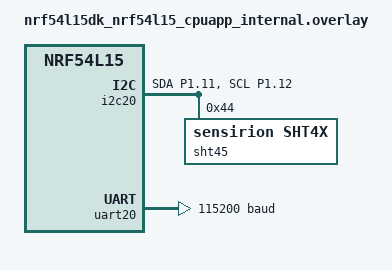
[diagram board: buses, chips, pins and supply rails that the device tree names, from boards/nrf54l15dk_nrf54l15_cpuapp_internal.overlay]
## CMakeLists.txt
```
cmake_minimum_required(VERSION 3.20.0)

find_package(Zephyr HINTS $ENV{ZEPHYR_BASE})

project(nrf54_humid)

# Enable GNU STD support for Matter to use
include(${ZEPHYR_CONNECTEDHOMEIP_MODULE_DIR}/config/nrfconnect/app/enable-gnu-std.cmake)

# Matter data model generation
include(${ZEPHYR_CONNECTEDHOMEIP_MODULE_DIR}/src/app/chip_data_model.cmake)

target_include_directories(app PRIVATE
    src
    src/zap-generated
)

target_sources(app PRIVATE
    src/main.cpp
    src/app_task.cpp
    src/identify_stub.cpp
    src/sht4x.cpp
)

target_include_directories(matter-data-model PUBLIC
    src
)

chip_configure_data_model(app
    BYPASS_IDL
    GEN_DIR src/zap-generated
    ZAP_FILE ${CMAKE_CURRENT_SOURCE_DIR}/src/sensor.zap
)
```

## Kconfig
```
config APP_TEMPERATURE_MONITORING
	bool "Enable internal temperature monitoring"
	default y
	select SENSOR
	help
	  Enable internal die temperature sensor monitoring.

config APP_MEASUREMENT_INTERVAL_SEC
	int "Measurement interval (seconds)"
	default 300
	help
	  Time between periodic measurements. Device sleeps between readings.


if OPENTHREAD

choice OPENTHREAD_NORDIC_LIBRARY_CONFIGURATION
	default OPENTHREAD_NORDIC_LIBRARY_MTD
endchoice

choice OPENTHREAD_DEVICE_TYPE
	default OPENTHREAD_MTD
endchoice

endif # OPENTHREAD

source "${ZEPHYR_CONNECTEDHOMEIP_MODULE_DIR}/config/nrfconnect/chip-module/Kconfig.features"
source "${ZEPHYR_CONNECTEDHOMEIP_MODULE_DIR}/config/nrfconnect/chip-module/Kconfig.defaults"
source "Kconfig.zephyr"
```

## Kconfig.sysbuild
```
#### Bootloader
choice BOOTLOADER
	default BOOTLOADER_MCUBOOT
endchoice

if BOOTLOADER_MCUBOOT

config PM_OVERRIDE_EXTERNAL_DRIVER_CHECK
	default y

# MCUboot padding size
config PM_MCUBOOT_PAD
	default 0x800

# Use overwrite-only mode (simpler, no swap)
# choice MCUBOOT_MODE
# 	default MCUBOOT_MODE_OVERWRITE_ONLY
# endchoice

endif # BOOTLOADER_MCUBOOT

source "share/sysbuild/Kconfig"
```

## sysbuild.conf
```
SB_CONFIG_MATTER=y

# Enable image build for Matter OTA
# SB_CONFIG_DFU_MULTI_IMAGE_PACKAGE_BUILD=y
# SB_CONFIG_DFU_MULTI_IMAGE_PACKAGE_APP=y

SB_CONFIG_MCUBOOT_MODE_OVERWRITE_ONLY=y
```

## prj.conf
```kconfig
# nRF54 Soil Moisture Sensor - Debug Configuration
# Development build with full logging

# Application features
CONFIG_APP_MEASUREMENT_INTERVAL_SEC=10

# Enable sensors and I2C bus
# CONFIG_SENSOR=y
# CONFIG_I2C=y
# CONFIG_PINCTRL=y

# TODO
CONFIG_BT_DEVICE_NAME="Humidity"

# Enable CHIP (Matter)
CONFIG_CHIP=y
CONFIG_CHIP_COMMISSIONABLE_DEVICE_TYPE=y
CONFIG_CHIP_ENABLE_PAIRING_AUTOSTART=y
CONFIG_CHIP_LIB_SHELL=y
CONFIG_CHIP_MAX_ACTIVE_DEVICES=1
CONFIG_CHIP_PERSISTENT_SUBSCRIPTIONS=y
CONFIG_CHIP_ROTATING_DEVICE_ID=y
CONFIG_CHIP_OTA_REQUESTOR=y

# Device-specific chip config
CONFIG_CHIP_DEVICE_TYPE=775
CONFIG_CHIP_DEVICE_VENDOR_ID=65521
CONFIG_CHIP_DEVICE_VENDOR_NAME="Dan Stiner"
CONFIG_CHIP_DEVICE_PRODUCT_ID=32768
CONFIG_CHIP_DEVICE_PRODUCT_NAME="Humidity Sensor"
CONFIG_CHIP_PROJECT_CONFIG="src/chip_project_config.h"

CONFIG_STD_CPP17=y
CONFIG_THREAD_NAME=y
CONFIG_MPU_STACK_GUARD=y

# Enable Intermittently Connected Device support,
# with Long Idle Time to reduce power usage
CONFIG_CHIP_ENABLE_ICD_SUPPORT=y
CONFIG_CHIP_ICD_LIT_SUPPORT=y

# OpenThread shell for debugging
CONFIG_OPENTHREAD_SHELL=y
CONFIG_SHELL_BACKEND_SERIAL_RX_RING_BUFFER_SIZE=256

# GRTC timer for wakeup from System OFF
CONFIG_NRF_GRTC_TIMER=y

# RAM retention in System OFF
CONFIG_RETAINED_MEM=y
CONFIG_RETAINED_MEM_MUTEX_FORCE_DISABLE=y
CONFIG_RETENTION=y
CONFIG_CRC=y

# Hardware info for reset cause detection
CONFIG_HWINFO=y

# Power Management
CONFIG_PM=y
CONFIG_PM_DEVICE=y
CONFIG_PM_DEVICE_RUNTIME=y

# System Off (deep sleep)
CONFIG_POWEROFF=y

# Serial/UART power management
# CONFIG_UART_USE_RUNTIME_CONFIGURE=y
# CONFIG_UART_ASYNC_API=y

# Memory footprint
CONFIG_HEAP_MEM_POOL_SIZE=1024
CONFIG_IDLE_STACK_SIZE=256

# Console for debugging
CONFIG_CONSOLE=y
CONFIG_UART_CONSOLE=y

# Configure UART async logging and shell
CONFIG_LOG=y
CONFIG_LOG_MODE_DEFERRED=y
CONFIG_LOG_PROCESS_THREAD_STACK_SIZE=1024
CONFIG_LOG_BUFFER_SIZE=4096
CONFIG_LOG_FUNC_NAME_PREFIX_DBG=n
CONFIG_SHELL=y
CONFIG_SHELL_LOG_BACKEND=y

CONFIG_SIZE_OPTIMIZATIONS=y

# Matter/CHIP size optimizations
CONFIG_CHIP_LOG_SIZE_OPTIMIZATION=y

# Reduce radio TX power
CONFIG_OPENTHREAD_DEFAULT_TX_POWER=-4
CONFIG_BT_CTLR_TX_PWR_MINUS_8=y

# Enable Factory Data feature
# CONFIG_CHIP_FACTORY_DATA=y
# CONFIG_CHIP_FACTORY_DATA_BUILD=y

# TODO Not sure why this is needed, without it we stack overflow main upon commisioning
CONFIG_MAIN_STACK_SIZE=8196
CONFIG_MATTER_LOG_LEVEL_DBG=y
```

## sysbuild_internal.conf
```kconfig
SB_CONFIG_MATTER=y
SB_CONFIG_PM_OVERRIDE_EXTERNAL_DRIVER_CHECK=n
SB_CONFIG_PM_EXTERNAL_FLASH_MCUBOOT_SECONDARY=n

# Direct XIP mode - execute from either slot, no swapping needed
SB_CONFIG_MCUBOOT_MODE_DIRECT_XIP_WITH_REVERT=y

# Enable image build for Matter OTA
SB_CONFIG_DFU_MULTI_IMAGE_PACKAGE_BUILD=y
SB_CONFIG_DFU_MULTI_IMAGE_PACKAGE_APP=y
```

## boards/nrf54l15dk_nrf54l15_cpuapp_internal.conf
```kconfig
# Disable SPI
CONFIG_CHIP_SPI_NOR=n

# Enable LTO to decrease the flash usage.
CONFIG_LTO=y
CONFIG_ISR_TABLES_LOCAL_DECLARATION=y
```

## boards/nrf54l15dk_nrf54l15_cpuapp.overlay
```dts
/ {
	chosen {
		nordic,pm-ext-flash = &mx25r64;
	};
};

/* I2C for SHT45 humidity/temperature sensor */
// &i2c30 {
// 	status = "okay";
// 	pinctrl-0 = <&i2c30_default>;
// 	pinctrl-1 = <&i2c30_sleep>;
// 	pinctrl-names = "default", "sleep";

// 	sht45: sht4x@44 {
// 		compatible = "sensirion,sht4x";
// 		reg = <0x44>;
// 		repeatability = <2>;
// 		status = "okay";
// 	};
// };

// &pinctrl {
// 	i2c30_default: i2c30_default {
// 		group1 {
// 			psels = <NRF_PSEL(TWIM_SDA, 1, 11)>, <NRF_PSEL(TWIM_SCL, 1, 12)>;
// 			bias-pull-up;
// 		};
// 	};

// 	i2c30_sleep: i2c30_sleep {
// 		group1 {
// 			psels = <NRF_PSEL(TWIM_SDA, 1, 11)>, <NRF_PSEL(TWIM_SCL, 1, 12)>;
// 			low-power-enable;
// 		};
// 	};
// };

/* Keep UART20 for console (it's the default console) */
&uart20 {
	status = "okay";
	current-speed = <115200>;
};

/* Disable unused peripherals to save power */
&uart21 {
	status = "disabled";
};

&uart22 {
	status = "disabled";
};

&uart30 {
	status = "disabled";
};

// restore full RRAM and SRAM space - by default some parts are dedicated to FLRP
&cpuapp_rram {
	reg = <0x0 DT_SIZE_K(1524)>;
};

&cpuapp_sram {
	reg = <0x20000000 DT_SIZE_K(256)>;
	ranges = <0x0 0x20000000  0x40000>;
};

&mx25r64 {
	status = "okay";
};
```

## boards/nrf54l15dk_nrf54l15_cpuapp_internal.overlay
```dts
/ {
};

/* I2C for SHT45 humidity/temperature sensor */
&i2c20 {
	status = "okay";
	pinctrl-0 = <&i2c20_default>;
	pinctrl-1 = <&i2c20_sleep>;
	pinctrl-names = "default", "sleep";

	sht45: sht4x@44 {
		compatible = "sensirion,sht4x";
		reg = <0x44>;
		repeatability = <2>;
		status = "okay";
	};
};

&pinctrl {
	i2c20_default: i2c20_default {
		group1 {
			psels = <NRF_PSEL(TWIM_SDA, 1, 11)>, <NRF_PSEL(TWIM_SCL, 1, 12)>;
			bias-pull-up;
		};
	};

	i2c20_sleep: i2c20_sleep {
		group1 {
			psels = <NRF_PSEL(TWIM_SDA, 1, 11)>, <NRF_PSEL(TWIM_SCL, 1, 12)>;
			low-power-enable;
		};
	};
};

/* Keep UART20 for console (it's the default console) */
&uart20 {
	status = "okay";
	current-speed = <115200>;
};

/* Disable unused peripherals to save power */
&uart21 {
	status = "disabled";
};

&uart22 {
	status = "disabled";
};

&uart30 {
	status = "disabled";
};

// restore full RRAM and SRAM space - by default some parts are dedicated to FLRP
&cpuapp_rram {
	reg = <0x0 DT_SIZE_K(1524)>;
};

&cpuapp_sram {
	reg = <0x20000000 DT_SIZE_K(256)>;
	ranges = <0x0 0x20000000  0x40000>;
};

// Disable external flash
&mx25r64 {
	status = "disabled";
};
```

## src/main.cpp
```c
#include "app_task.h"

#include <zephyr/kernel.h>
#include <zephyr/logging/log.h>
#include <zephyr/sys/printk.h>

LOG_MODULE_REGISTER(app, CONFIG_CHIP_APP_LOG_LEVEL);

int main()
{
	LOG_INF("Starting...");

	CHIP_ERROR err = AppTask::StartApp();

	LOG_ERR("Exited with code %" CHIP_ERROR_FORMAT, err.Format());
	return err == CHIP_NO_ERROR ? EXIT_SUCCESS : EXIT_FAILURE;
}
```

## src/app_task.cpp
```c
/*
 * nRF54 Soil Moisture Sensor - Matter Application Task
 */

#include "app_task.h"
#include "sht4x.h"

#include <app/server/Server.h>
#include <app/clusters/network-commissioning/network-commissioning.h>
#include <app/reporting/reporting.h>
#include <app/util/attribute-storage.h>
#include <app-common/zap-generated/attributes/Accessors.h>
#include <credentials/DeviceAttestationCredsProvider.h>
#include <credentials/examples/DeviceAttestationCredsExample.h>
#include <data-model-providers/codegen/Instance.h>
#include <inet/EndPointStateOpenThread.h>
#include <lib/core/CHIPError.h>
#include <lib/support/CodeUtils.h>
#include <platform/CHIPDeviceLayer.h>
#include <platform/OpenThread/GenericNetworkCommissioningThreadDriver.h>
#include <platform/ThreadStackManager.h>

#include "zap-generated/endpoint_config.h"

#include <zephyr/drivers/sensor.h>
#include <zephyr/kernel.h>
#include <zephyr/logging/log.h>
#include <zephyr/sys/printk.h>

LOG_MODULE_REGISTER(app_task, CONFIG_CHIP_APP_LOG_LEVEL);

using namespace ::chip;
using namespace ::chip::DeviceLayer;

namespace {

chip::app::Clusters::NetworkCommissioning::InstanceAndDriver<
	chip::DeviceLayer::NetworkCommissioning::GenericThreadDriver> THREAD_NETWORK_DRIVER(0);

struct k_work_delayable measure_work;
Sht4x sht4x;

void LockOpenThreadTask()
{
	ThreadStackMgr().LockThreadStack();
}

void UnlockOpenThreadTask()
{
	ThreadStackMgr().UnlockThreadStack();
}

} // namespace

CHIP_ERROR AppTask::StartApp()
{
	ReturnErrorOnFailure(Init());

	LOG_INF("Matter server initialized");

	// Use current thread to drive CHIP event loop
	PlatformMgr().RunEventLoop();

	return CHIP_NO_ERROR;
}

CHIP_ERROR AppTask::Init()
{
	ReturnErrorOnFailure(PlatformMgr().InitChipStack());

	ReturnErrorOnFailure(ThreadStackMgr().InitThreadStack());

	THREAD_NETWORK_DRIVER.Init();

	chip::Credentials::SetDeviceAttestationCredentialsProvider(
		chip::Credentials::Examples::GetExampleDACProvider());

	static chip::CommonCaseDeviceServerInitParams initParams;

	chip::Inet::EndPointStateOpenThread::OpenThreadEndpointInitParam nativeParams;
	nativeParams.lockCb = LockOpenThreadTask;
	nativeParams.unlockCb = UnlockOpenThreadTask;
	nativeParams.openThreadInstancePtr = ThreadStackMgrImpl().OTInstance();
	initParams.endpointNativeParams = static_cast<void *>(&nativeParams);

	ReturnErrorOnFailure(initParams.InitializeStaticResourcesBeforeServerInit());

	initParams.dataModelProvider = chip::app::CodegenDataModelProviderInstance(initParams.persistentStorageDelegate);

	ReturnErrorOnFailure(chip::Server::GetInstance().Init(initParams));

	ConfigurationMgr().LogDeviceConfig();

	// Initialize SHT4x driver
	ReturnErrorOnFailure(sht4x.Init());

	// Start measurement periodic after short delay
	// TODO only start once commissioned
	k_work_init_delayable(&measure_work, AppTask::MeasureWorkPeriodic);
	k_work_schedule(&measure_work, K_MSEC(500));

	return CHIP_NO_ERROR;
}

void AppTask::MeasureWorkPeriodic(struct k_work *work)
{
	int16_t temperature;
	uint16_t humidity;

	// Read SHT4x sensor
	bool success = sht4x.Read(temperature, humidity);

	// Update Matter attributes
	PlatformMgr().LockChipStack();
	if (success) {
		chip::app::Clusters::TemperatureMeasurement::Attributes::MeasuredValue::Set(
			1, chip::app::DataModel::Nullable<int16_t>(temperature));

		chip::app::Clusters::RelativeHumidityMeasurement::Attributes::MeasuredValue::Set(
			1, chip::app::DataModel::Nullable<uint16_t>(humidity));
	} else {
		// Set to null on error to indicate sensor unavailable
		chip::app::Clusters::TemperatureMeasurement::Attributes::MeasuredValue::Set(
			1, chip::app::DataModel::Nullable<int16_t>());

		chip::app::Clusters::RelativeHumidityMeasurement::Attributes::MeasuredValue::Set(
			1, chip::app::DataModel::Nullable<uint16_t>());
	}
	PlatformMgr().UnlockChipStack();

	// Retry on next interval
	k_work_schedule(&measure_work, K_SECONDS(CONFIG_APP_MEASUREMENT_INTERVAL_SEC));
}
```

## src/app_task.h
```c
/*
 * nRF54 Soil Moisture Sensor - Matter Application Task
 */

#pragma once

#include <lib/core/CHIPError.h>

struct AppTask {
	static CHIP_ERROR StartApp();

private:
	static CHIP_ERROR Init();
	static void MeasureWorkPeriodic(struct k_work *work);
};
```

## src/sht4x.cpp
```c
#include "sht4x.h"

#include <zephyr/drivers/sensor/sht4x.h>
#include <zephyr/drivers/sensor.h>
#include <zephyr/logging/log.h>

LOG_MODULE_REGISTER(sht4x, CONFIG_CHIP_APP_LOG_LEVEL);

#if !DT_HAS_COMPAT_STATUS_OKAY(sensirion_sht4x)
// #error "No sensirion,sht4x compatible node found in the device tree"
#endif

CHIP_ERROR Sht4x::Init()
{
	CHIP_ERROR err = CHIP_NO_ERROR;

	sht = DEVICE_DT_GET_ANY(sensirion_sht4x);

    if (!device_is_ready(sht))
    {
        return CHIP_ERROR_INTERNAL;
    }

#if CONFIG_APP_SHT4X_HEATER
	struct sensor_value heater_p;
	struct sensor_value heater_d;

	heater_p.val1 = CONFIG_APP_HEATER_PULSE_POWER;
	heater_d.val1 = !!CONFIG_APP_HEATER_PULSE_DURATION_LONG;
	sensor_attr_set(sht, SENSOR_CHAN_ALL, SENSOR_ATTR_SHT4X_HEATER_POWER, &heater_p);
	sensor_attr_set(sht, SENSOR_CHAN_ALL, SENSOR_ATTR_SHT4X_HEATER_DURATION, &heater_d);
#endif

	return err;
}

bool Sht4x::Read(int16_t &temperature, uint16_t &humidity)
{
	struct sensor_value temp, hum;
	int rc;

	rc = sensor_sample_fetch(sht);
	if (rc != 0) {
		LOG_ERR("Failed to fetch sample from SHT4X: %d", rc);
		return false;
	}

	rc = sensor_channel_get(sht, SENSOR_CHAN_AMBIENT_TEMP, &temp);
	if (rc != 0) {
		LOG_ERR("Failed to read SHT4X temperature: %d", rc);
		return false;
	}

	rc = sensor_channel_get(sht, SENSOR_CHAN_HUMIDITY, &hum);
	if (rc != 0) {
		LOG_ERR("Failed to read SHT4X humidity: %d", rc);
		return false;
	}

	// Convert to Matter format
	// Temperature: 0.01°C units
	temperature = (temp.val1 * 100) + (temp.val2 / 10000);

	// Humidity: 0.01% units (0-10000 = 0-100%)
	humidity = (hum.val1 * 100) + (hum.val2 / 10000);

	LOG_INF("SHT4X: %d.%02d°C, %d.%02d%% RH (Matter: temp=%d, hum=%d)",
		temp.val1, temp.val2 / 10000, hum.val1, hum.val2 / 10000,
		temperature, humidity);

	return true;
}
```

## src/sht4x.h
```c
#pragma once

#include <lib/core/CHIPError.h>

using namespace chip;

class Sht4x {
public:
	CHIP_ERROR Init();

	// Read temperature and humidity
	// Returns true on success, false on error
	// temperature: in 0.01°C units (Matter format)
	// humidity: in 0.01% units (0-10000 = 0-100%)
	// Will activate heater as necessary
	bool Read(int16_t &temperature, uint16_t &humidity);

private:
	const struct device *sht;
};
```
